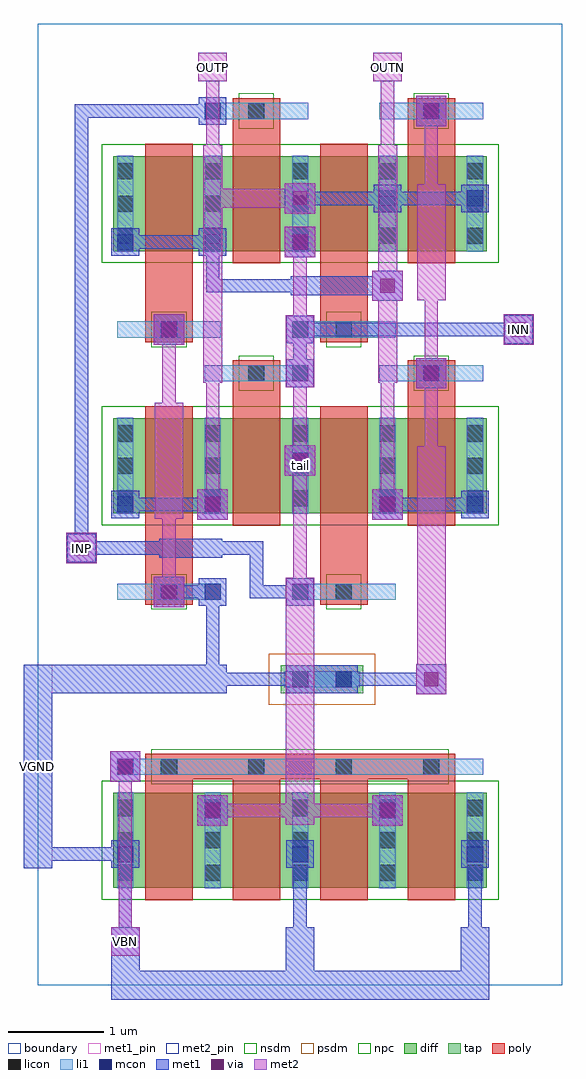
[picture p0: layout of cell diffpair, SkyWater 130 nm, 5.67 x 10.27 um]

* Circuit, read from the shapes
.subckt diffpair INN INP OUTN OUTP VBN VGND tail
XM1 tail VBN VGND VGND sky130_fd_pr__nfet_01v8 w=1 l=0.5 m=4
XM2 OUTP VGND OUTP VGND sky130_fd_pr__nfet_01v8 w=1 l=0.5 m=2
XM3 OUTN VGND OUTN VGND sky130_fd_pr__nfet_01v8 w=1 l=0.5 m=2
XM4 tail INN OUTP VGND sky130_fd_pr__nfet_01v8 w=1 l=0.5 m=2
XM5 tail INP OUTN VGND sky130_fd_pr__nfet_01v8 w=1 l=0.5 m=2
.ends

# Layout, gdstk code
import gdstk
lib = gdstk.Library(unit=1e-6, precision=1e-09)
def R(c, l, rs):  # rectangles x0, y0, x1, y1
    for r in rs: c.add(gdstk.rectangle(r[:2], r[2:], *l))
def A(c, l, x, y, w, h, nx, ny, dx, dy):  # array of equal rectangles
    R(c, l, [(x+i*dx, y+j*dy, x+i*dx+w, y+j*dy+h) for i in range(nx) for j in range(ny)])
diff = (65, 20)
tap = (65, 44)
poly = (66, 20)
licon = (66, 44)
li1 = (67, 20)
mcon = (67, 44)
met1_pin = (68, 16)
met1 = (68, 20)
via = (68, 44)
met2_pin = (69, 16)
met2 = (69, 20)
nsdm = (93, 44)
psdm = (94, 20)
npc = (95, 20)
boundary = (235, 4)

diffpair = lib.new_cell('diffpair')
R(diffpair, diff, [(0.795,1.025,4.725,2.025), (0.795,4.965,4.725,5.965), (0.795,7.725,4.725,8.725)])
R(diffpair, tap, [(2.555,3.075,3.425,3.365)])
A(diffpair, poly, 1.13, 0.895, 0.5, 1.405, 4, 1, 0.92, 0)
R(diffpair, poly, [(1.13,2.165,4.39,2.435), (1.13,4.005,1.63,4.275), (2.97,4.005,3.47,4.275), (1.13,4.14,1.63,6.095), (2.97,4.14,3.47,6.095), (2.05,4.835,2.55,6.44), (3.89,4.835,4.39,6.44), (2.05,6.305,2.55,6.575), (3.89,6.305,4.39,6.575), (1.13,6.765,1.63,7.035), (2.97,6.765,3.47,7.035), (1.13,6.9,1.63,8.855), (2.97,6.9,3.47,8.855), (2.05,7.595,2.55,9.2), (3.89,7.595,4.39,9.2), (2.05,9.065,2.55,9.335), (3.89,9.065,4.39,9.335)])
A(diffpair, licon, 0.835, 1.1, 0.17, 0.17, 5, 3, 0.92, 0.34)
A(diffpair, licon, 1.295, 2.215, 0.17, 0.17, 4, 1, 0.92, 0)
A(diffpair, licon, 0.835, 5.04, 0.17, 0.17, 5, 3, 0.92, 0.34)
A(diffpair, licon, 0.835, 7.8, 0.17, 0.17, 5, 3, 0.92, 0.34)
R(diffpair, licon, [(2.675,3.135,2.845,3.305), (3.135,3.135,3.305,3.305), (1.295,4.055,1.465,4.225), (3.135,4.055,3.305,4.225), (2.215,6.355,2.385,6.525), (4.055,6.355,4.225,6.525), (1.295,6.815,1.465,6.985), (3.135,6.815,3.305,6.985), (2.215,9.115,2.385,9.285), (4.055,9.115,4.225,9.285)])
A(diffpair, li1, 0.835, 1.02, 0.17, 1.01, 5, 2, 0.92, 3.94)
A(diffpair, li1, 0.835, 7.72, 0.17, 1.01, 5, 1, 0.92, 0)
R(diffpair, li1, [(0.835,2.215,4.685,2.385), (2.595,3.135,3.385,3.305), (0.835,4.055,1.925,4.225), (2.675,4.055,3.765,4.225), (1.755,6.355,2.845,6.525), (3.595,6.355,4.685,6.525), (0.835,6.815,1.925,6.985), (2.675,6.815,3.765,6.985), (1.755,9.115,2.845,9.285), (3.595,9.115,4.685,9.285)])
A(diffpair, mcon, 0.835, 1.295, 0.17, 0.17, 3, 1, 1.84, 0)
A(diffpair, mcon, 3.595, 1.755, 0.17, 0.17, 1, 3, 0, 3.22)
A(diffpair, mcon, 0.835, 7.735, 0.17, 0.17, 3, 1, 0.92, 0)
R(diffpair, mcon, [(1.755,1.755,1.925,1.925), (0.835,2.215,1.005,2.385), (2.675,3.135,2.845,3.305), (3.135,3.135,3.305,3.305), (1.755,4.055,1.925,4.225), (2.675,4.055,2.845,4.225), (0.835,4.975,1.005,5.145), (1.755,4.975,1.925,5.145), (4.515,4.975,4.685,5.145), (2.675,5.435,2.845,5.605), (2.675,6.355,2.845,6.525), (4.055,6.355,4.225,6.525), (1.295,6.815,1.465,6.985), (2.675,6.815,2.845,6.985), (4.515,8.195,4.685,8.365), (1.755,9.115,1.925,9.285), (4.055,9.115,4.225,9.285)])
R(diffpair, met1_pin, [(-0.15,1.23,0.15,3.37)])
A(diffpair, met1, 0.77, -0.15, 0.3, 0.76, 3, 1, 1.84, 0)
A(diffpair, met1, 0.85, 0.39, 0.14, 1.06, 3, 1, 1.84, 0)
A(diffpair, met1, 0.775, 1.235, 0.29, 0.29, 3, 1, 1.84, 0)
A(diffpair, met1, 3.535, 1.695, 0.29, 0.29, 1, 3, 0, 3.22)
A(diffpair, met1, 0.775, 7.675, 0.29, 0.29, 3, 1, 0.92, 0)
R(diffpair, met1, [(0.77,-0.15,2.91,0.15), (2.61,-0.15,4.75,0.15), (-0.15,1.23,0.15,3.37), (-0.07,1.31,0.99,1.45), (1.68,1.68,2,2), (3.52,1.68,3.84,2), (1.695,1.695,1.985,1.985), (0.76,2.14,1.08,2.46), (0.775,2.155,1.065,2.445), (3.98,3.06,4.3,3.38), (-0.15,3.07,1.99,3.37), (2.615,3.075,3.365,3.365), (1.77,3.15,2.83,3.29), (1.77,3.15,1.91,4.21), (2.69,3.15,4.21,3.29), (2.69,3.15,2.83,3.29), (1.22,3.98,1.54,4.3), (1.695,3.995,1.985,4.285), (2.615,3.995,2.905,4.285), (1.31,4.07,1.91,4.21), (2.23,4.07,2.83,4.21), (2.23,4.07,2.37,4.67), (0.3,4.44,0.62,4.76), (1.28,4.5,1.94,4.7), (0.39,4.53,1.45,4.67), (0.39,4.53,0.53,9.27), (1.77,4.53,2.37,4.67), (1.68,4.9,2,5.22), (3.52,4.9,3.84,5.22), (0.775,4.915,1.065,5.205), (1.695,4.915,1.985,5.205), (4.455,4.915,4.745,5.205), (0.85,4.99,1.91,5.13), (3.61,4.99,4.67,5.13), (2.6,5.36,2.92,5.68), (2.615,5.375,2.905,5.665), (3.98,6.28,4.3,6.6), (2.615,6.295,2.905,6.585), (3.995,6.295,4.285,6.585), (2.69,6.37,2.83,6.97), (1.22,6.74,1.54,7.06), (4.9,6.74,5.22,7.06), (1.235,6.755,1.525,7.045), (2.615,6.755,2.905,7.045), (2.69,6.83,5.13,6.97), (3.52,7.2,3.84,7.52), (2.66,7.26,3.78,7.46), (1.77,7.29,1.91,7.89), (1.77,7.29,2.83,7.43), (2.6,7.66,2.92,7.98), (0.85,7.75,1.91,7.89), (2.6,8.12,2.92,8.44), (4.455,8.135,4.745,8.425), (2.69,8.21,3.75,8.35), (3.61,8.21,4.67,8.35), (3.98,9.04,4.3,9.36), (1.695,9.055,1.985,9.345), (3.995,9.055,4.285,9.345), (0.39,9.13,1.91,9.27)])
R(diffpair, via, [(1.765,1.765,1.915,1.915), (3.605,1.765,3.755,1.915), (0.845,2.225,0.995,2.375), (4.065,3.145,4.215,3.295), (1.305,4.065,1.455,4.215), (0.385,4.525,0.535,4.675), (1.765,4.985,1.915,5.135), (3.605,4.985,3.755,5.135), (2.685,5.445,2.835,5.595), (4.065,6.365,4.215,6.515), (1.305,6.825,1.455,6.975), (4.985,6.825,5.135,6.975), (3.605,7.285,3.755,7.435), (2.685,7.745,2.835,7.895), (2.685,8.205,2.835,8.355), (4.065,9.125,4.215,9.275)])
R(diffpair, met2_pin, [(0.77,0.31,1.07,0.61), (0.31,4.45,0.61,4.75), (4.91,6.75,5.21,7.05), (1.69,9.51,1.99,9.81), (3.53,9.51,3.83,9.81)])
R(diffpair, met2, [(0.77,0.31,1.07,0.61), (0.85,0.39,0.99,0.53), (0.85,0.39,0.99,2.37), (1.68,1.68,2,2), (3.52,1.68,3.84,2), (2.61,1.69,2.91,4.29), (1.77,1.77,2.83,1.91), (2.69,1.77,3.75,1.91), (0.76,2.14,1.08,2.46), (3.98,3.06,4.3,3.38), (3.99,3.07,4.29,5.67), (1.22,3.98,1.54,4.3), (1.31,4.07,1.45,5.13), (2.69,4.07,2.83,5.59), (0.3,4.44,0.62,4.76), (0.31,4.45,0.61,4.75), (0.39,4.53,0.53,4.67), (1.68,4.9,2,5.22), (3.52,4.9,3.84,5.22), (1.23,4.91,1.53,6.13), (1.77,4.99,1.91,6.51), (3.61,4.99,3.75,6.51), (2.6,5.36,2.92,5.68), (2.69,5.45,2.83,6.51), (4.07,5.45,4.21,6.51), (1.31,5.91,1.45,6.97), (3.98,6.28,4.3,6.6), (2.61,6.29,2.91,7.05), (1.74,6.34,1.94,8.84), (3.58,6.34,3.78,8.84), (4.07,6.37,4.21,7.43), (1.22,6.74,1.54,7.06), (4.9,6.74,5.22,7.06), (4.91,6.75,5.21,7.05), (2.69,6.83,2.83,7.89), (4.99,6.83,5.13,6.97), (3.52,7.2,3.84,7.52), (3.99,7.21,4.29,8.43), (2.6,7.66,2.92,7.98), (2.6,8.12,2.92,8.44), (1.74,8.18,2.86,8.38), (4.07,8.21,4.21,9.27), (1.77,8.67,1.91,9.73), (3.61,8.67,3.75,9.73), (3.98,9.04,4.3,9.36), (1.69,9.51,1.99,9.81), (3.53,9.51,3.83,9.81), (1.77,9.59,1.91,9.73), (3.61,9.59,3.75,9.73)])
R(diffpair, nsdm, [(0.67,0.9,4.85,2.15), (0.67,4.84,4.85,6.09), (0.67,7.6,4.85,8.85)])
R(diffpair, psdm, [(2.43,2.95,3.55,3.49)])
R(diffpair, npc, [(1.195,2.115,4.325,2.485), (1.195,3.955,1.565,4.325), (3.035,3.955,3.405,4.325), (2.115,6.255,2.485,6.625), (3.955,6.255,4.325,6.625), (1.195,6.715,1.565,7.085), (3.035,6.715,3.405,7.085), (2.115,9.015,2.485,9.385), (3.955,9.015,4.325,9.385)])
R(diffpair, boundary, [(0,0,5.52,10.12)])
diffpair.add(gdstk.Label('tail', (2.76,5.465), layer=67, texttype=5))
diffpair.add(gdstk.Label('VGND', (0,2.3), layer=68, texttype=5))
diffpair.add(gdstk.Label('INP', (0.46,4.6), layer=69, texttype=5))
diffpair.add(gdstk.Label('INN', (5.06,6.9), layer=69, texttype=5))
diffpair.add(gdstk.Label('VBN', (0.92,0.46), layer=69, texttype=5))
diffpair.add(gdstk.Label('OUTP', (1.84,9.66), layer=69, texttype=5))
diffpair.add(gdstk.Label('OUTN', (3.68,9.66), layer=69, texttype=5))
diffpair.add(gdstk.Label('VGND', (0,2.3), layer=68, texttype=16))
diffpair.add(gdstk.Label('INP', (0.46,4.6), layer=69, texttype=16))
diffpair.add(gdstk.Label('INN', (5.06,6.9), layer=69, texttype=16))
diffpair.add(gdstk.Label('VBN', (0.92,0.46), layer=69, texttype=16))
diffpair.add(gdstk.Label('OUTP', (1.84,9.66), layer=69, texttype=16))
diffpair.add(gdstk.Label('OUTN', (3.68,9.66), layer=69, texttype=16))

lib.write_gds('diffpair.gds')
